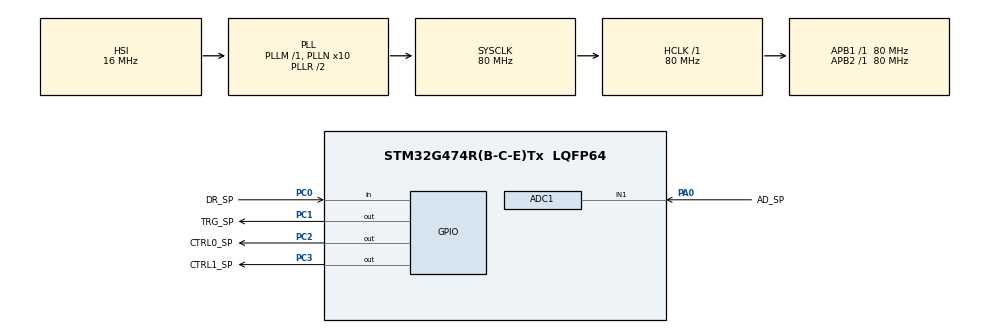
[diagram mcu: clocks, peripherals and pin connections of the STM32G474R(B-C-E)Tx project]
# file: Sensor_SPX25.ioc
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ADC1.Channel-0\#ChannelRegularConversion=ADC_CHANNEL_1
ADC1.ContinuousConvMode=ENABLE
ADC1.DMAContinuousRequests=ENABLE
ADC1.NbrOfConversionFlag=1
ADC1.OffsetNumber-0\#ChannelRegularConversion=ADC_OFFSET_NONE
ADC1.Overrun=ADC_OVR_DATA_OVERWRITTEN
ADC1.Rank-0\#ChannelRegularConversion=1
ADC1.SamplingTime-0\#ChannelRegularConversion=ADC_SAMPLETIME_640CYCLES_5
ADC1.master=1
Dma.ADC1.0.Direction=DMA_PERIPH_TO_MEMORY
Dma.ADC1.0.EventEnable=DISABLE
Dma.ADC1.0.Instance=DMA1_Channel1
Dma.ADC1.0.MemDataAlignment=DMA_MDATAALIGN_HALFWORD
Dma.ADC1.0.MemInc=DMA_MINC_ENABLE
Dma.ADC1.0.Mode=DMA_NORMAL
Dma.ADC1.0.PeriphDataAlignment=DMA_PDATAALIGN_HALFWORD
Dma.ADC1.0.PeriphInc=DMA_PINC_DISABLE
Dma.ADC1.0.Polarity=HAL_DMAMUX_REQ_GEN_RISING
Dma.ADC1.0.Priority=DMA_PRIORITY_LOW
Dma.ADC1.0.RequestNumber=1
Dma.ADC1.0.SignalID=NONE
Dma.ADC1.0.SyncEnable=DISABLE
Dma.ADC1.0.SyncPolarity=HAL_DMAMUX_SYNC_NO_EVENT
Dma.ADC1.0.SyncRequestNumber=1
Dma.ADC1.0.SyncSignalID=NONE
Dma.Request0=ADC1
Mcu.Family=STM32G4
Mcu.Name=STM32G474R(B-C-E)Tx
Mcu.Package=LQFP64
NVIC.PriorityGroup=NVIC_PRIORITYGROUP_4
PA0.GPIO_Label=AD_SP
PA0.Mode=IN1-Single-Ended
PA0.Signal=ADC1_IN1
PA13.Mode=Serial_Wire
PA13.Signal=SYS_JTMS-SWDIO
PA14.Mode=Serial_Wire
PA14.Signal=SYS_JTCK-SWCLK
PC0.GPIO_Label=DR_SP
PC0.Signal=GPIO_Input
PC1.GPIO_Label=TRG_SP
PC1.Signal=GPIO_Output
PC2.GPIO_Label=CTRL0_SP
PC2.Signal=GPIO_Output
PC3.GPIO_Label=CTRL1_SP
PC3.Signal=GPIO_Output
ProjectManager.HeapSize=0x200
ProjectManager.StackSize=0x400
ProjectManager.TargetToolchain=STM32CubeIDE
RCC.ADC12Freq_Value=80000000
RCC.ADC345Freq_Value=80000000
RCC.AHBFreq_Value=80000000
RCC.APB1Freq_Value=80000000
RCC.APB1TimFreq_Value=80000000
RCC.APB2Freq_Value=80000000
RCC.APB2TimFreq_Value=80000000
RCC.CortexFreq_Value=80000000
RCC.EXTERNAL_CLOCK_VALUE=12288000
RCC.HCLKFreq_Value=80000000
RCC.HSE_VALUE=8000000
RCC.HSI48_VALUE=48000000
RCC.HSI_VALUE=16000000
RCC.LSE_VALUE=32768
RCC.PLLN=10
RCC.SYSCLKFreq_VALUE=80000000
RCC.SYSCLKSource=RCC_SYSCLKSOURCE_PLLCLK
RCC.USBFreq_Value=80000000
RCC.VCOOutputFreq_Value=160000000
VP_SYS_VS_DBSignals.Mode=DisableDeadBatterySignals
board=custom

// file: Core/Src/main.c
/* USER CODE BEGIN Header */
/**
  ******************************************************************************
  * @file           : main.c
  * @brief          : Main program body
  ******************************************************************************
  * @attention
  *
  * Copyright (c) 2026 STMicroelectronics.
  * All rights reserved.
  *
  * This software is licensed under terms that can be found in the LICENSE file
  * in the root directory of this software component.
  * If no LICENSE file comes with this software, it is provided AS-IS.
  *
  ******************************************************************************
  */
/* USER CODE END Header */
#include "main.h"

/* USER CODE BEGIN Includes */
#include "spx25.h"
/* USER CODE END Includes */

ADC_HandleTypeDef hadc1;
DMA_HandleTypeDef hdma_adc1;

/* USER CODE BEGIN PV */

//bufor na ADC aktualizowany przez DMA
volatile static uint16_t value[1];
/* USER CODE END PV */

void SystemClock_Config(void);
static void MX_GPIO_Init(void);
static void MX_DMA_Init(void);
static void MX_ADC1_Init(void);

int main(void)
{

  /* MCU Configuration--------------------------------------------------------*/

  /* Reset of all peripherals, Initializes the Flash interface and the Systick. */
  HAL_Init();

  /* Configure the system clock */
  SystemClock_Config();

  /* Initialize all configured peripherals */
  MX_GPIO_Init();
  MX_DMA_Init();
  MX_ADC1_Init();
  /* USER CODE BEGIN 2 */

  //rozpoczęcie ciągłęgo pomiaru ADC za pomocą DMA
  HAL_ADCEx_Calibration_Start(&hadc1, ADC_SINGLE_ENDED);
  HAL_ADC_Start_DMA(&hadc1, (uint32_t*)value, 1);
  uint8_t selected_mode = 1; //zmienna wyznaczająca aktualną mierzoną wartość: 1 - wilgoć, 2 - pH, 3 - temperatura
  uint32_t trg_timer = 0;
  uint8_t trg_status = 0;
  uint8_t measurement_status = 0; //zmienna oznaczająca trwający pomiar

  /* USER CODE END 2 */

  /* Infinite loop */
  while (1)
  {
    /* USER CODE BEGIN 3 */
	uint32_t now = HAL_GetTick();

	//ustawianie mierzonego parametru
	if(measurement_status == 0){
		switch(selected_mode){
		case 1:
			spx25_set_mode(0,0); //pomiar wilgoci
			break;
		case 2:
			spx25_set_mode(0, 1); //pomiar pH
			break;
		case 3:
			spx25_set_mode(1, 0); //pomiar temperatury
			break;
		}
		// ustawienie sygnału trg
		HAL_GPIO_WritePin(TRG_SP_GPIO_Port, TRG_SP_Pin, GPIO_PIN_SET);
		trg_timer = HAL_GetTick();
		trg_status = 1;
		measurement_status = 1;
	}
	//zakończenie nadawania sygnału trg po 10ms
	if(trg_status == 1 && (now - trg_timer)> 10){
		trg_status = 0;
		HAL_GPIO_WritePin(TRG_SP_GPIO_Port, TRG_SP_Pin, GPIO_PIN_RESET);
	}
    //warunek sprawdzający czy sensor skończył pomiar, warunek trg_status == 0 przecwdziała sytuacji gdyby sensor wystawiał jakiś wynik podczas gdy my zlecamy kolejny
	if(HAL_GPIO_ReadPin(DR_SP_GPIO_Port, DR_SP_Pin) == GPIO_PIN_SET && trg_status == 0){
		spx25_measurement_conversion(selected_mode,value[0]);
		measurement_status = 0;
		selected_mode++;
		if(selected_mode>3)
			selected_mode = 1;
	}
	//warunek resetujący pomiar gdy trwa on dłużej niż najwięcej przewidziane 500ms
	if(measurement_status == 1 && (now - trg_timer) > 500){
	    measurement_status = 0;
	}
  }
  /* USER CODE END 3 */
}

void SystemClock_Config(void)
{
  RCC_OscInitTypeDef RCC_OscInitStruct = {0};
  RCC_ClkInitTypeDef RCC_ClkInitStruct = {0};

  /** Configure the main internal regulator output voltage
  */
  HAL_PWREx_ControlVoltageScaling(PWR_REGULATOR_VOLTAGE_SCALE1);

  /** Initializes the RCC Oscillators according to the specified parameters
  * in the RCC_OscInitTypeDef structure.
  */
  RCC_OscInitStruct.OscillatorType = RCC_OSCILLATORTYPE_HSI;
  RCC_OscInitStruct.HSIState = RCC_HSI_ON;
  RCC_OscInitStruct.HSICalibrationValue = RCC_HSICALIBRATION_DEFAULT;
  RCC_OscInitStruct.PLL.PLLState = RCC_PLL_ON;
  RCC_OscInitStruct.PLL.PLLSource = RCC_PLLSOURCE_HSI;
  RCC_OscInitStruct.PLL.PLLM = RCC_PLLM_DIV1;
  RCC_OscInitStruct.PLL.PLLN = 10;
  RCC_OscInitStruct.PLL.PLLP = RCC_PLLP_DIV2;
  RCC_OscInitStruct.PLL.PLLQ = RCC_PLLQ_DIV2;
  RCC_OscInitStruct.PLL.PLLR = RCC_PLLR_DIV2;
  if (HAL_RCC_OscConfig(&RCC_OscInitStruct) != HAL_OK)
  {
    Error_Handler();
  }

  /** Initializes the CPU, AHB and APB buses clocks
  */
  RCC_ClkInitStruct.ClockType = RCC_CLOCKTYPE_HCLK|RCC_CLOCKTYPE_SYSCLK
                              |RCC_CLOCKTYPE_PCLK1|RCC_CLOCKTYPE_PCLK2;
  RCC_ClkInitStruct.SYSCLKSource = RCC_SYSCLKSOURCE_PLLCLK;
  RCC_ClkInitStruct.AHBCLKDivider = RCC_SYSCLK_DIV1;
  RCC_ClkInitStruct.APB1CLKDivider = RCC_HCLK_DIV1;
  RCC_ClkInitStruct.APB2CLKDivider = RCC_HCLK_DIV1;

  if (HAL_RCC_ClockConfig(&RCC_ClkInitStruct, FLASH_LATENCY_2) != HAL_OK)
  {
    Error_Handler();
  }
}

static void MX_ADC1_Init(void)
{

  ADC_MultiModeTypeDef multimode = {0};
  ADC_ChannelConfTypeDef sConfig = {0};

  /** Common config
  */
  hadc1.Instance = ADC1;
  hadc1.Init.ClockPrescaler = ADC_CLOCK_SYNC_PCLK_DIV2;
  hadc1.Init.Resolution = ADC_RESOLUTION_12B;
  hadc1.Init.DataAlign = ADC_DATAALIGN_RIGHT;
  hadc1.Init.GainCompensation = 0;
  hadc1.Init.ScanConvMode = ADC_SCAN_DISABLE;
  hadc1.Init.EOCSelection = ADC_EOC_SINGLE_CONV;
  hadc1.Init.LowPowerAutoWait = DISABLE;
  hadc1.Init.ContinuousConvMode = ENABLE;
  hadc1.Init.NbrOfConversion = 1;
  hadc1.Init.DiscontinuousConvMode = DISABLE;
  hadc1.Init.ExternalTrigConv = ADC_SOFTWARE_START;
  hadc1.Init.ExternalTrigConvEdge = ADC_EXTERNALTRIGCONVEDGE_NONE;
  hadc1.Init.DMAContinuousRequests = ENABLE;
  hadc1.Init.Overrun = ADC_OVR_DATA_OVERWRITTEN;
  hadc1.Init.OversamplingMode = DISABLE;
  if (HAL_ADC_Init(&hadc1) != HAL_OK)
  {
    Error_Handler();
  }

  /** Configure the ADC multi-mode
  */
  multimode.Mode = ADC_MODE_INDEPENDENT;
  if (HAL_ADCEx_MultiModeConfigChannel(&hadc1, &multimode) != HAL_OK)
  {
    Error_Handler();
  }

  /** Configure Regular Channel
  */
  sConfig.Channel = ADC_CHANNEL_1;
  sConfig.Rank = ADC_REGULAR_RANK_1;
  sConfig.SamplingTime = ADC_SAMPLETIME_640CYCLES_5;
  sConfig.SingleDiff = ADC_SINGLE_ENDED;
  sConfig.OffsetNumber = ADC_OFFSET_NONE;
  sConfig.Offset = 0;
  if (HAL_ADC_ConfigChannel(&hadc1, &sConfig) != HAL_OK)
  {
    Error_Handler();
  }

}

static void MX_DMA_Init(void)
{

  /* DMA controller clock enable */
  __HAL_RCC_DMAMUX1_CLK_ENABLE();
  __HAL_RCC_DMA1_CLK_ENABLE();

}

static void MX_GPIO_Init(void)
{
  GPIO_InitTypeDef GPIO_InitStruct = {0};

  /* GPIO Ports Clock Enable */
  __HAL_RCC_GPIOC_CLK_ENABLE();
  __HAL_RCC_GPIOA_CLK_ENABLE();

  /*Configure GPIO pin Output Level */
  HAL_GPIO_WritePin(GPIOC, TRG_SP_Pin|CTRL0_SP_Pin|CTRL1_SP_Pin, GPIO_PIN_RESET);

  /*Configure GPIO pin : DR_SP_Pin */
  GPIO_InitStruct.Pin = DR_SP_Pin;
  GPIO_InitStruct.Mode = GPIO_MODE_INPUT;
  GPIO_InitStruct.Pull = GPIO_NOPULL;
  HAL_GPIO_Init(DR_SP_GPIO_Port, &GPIO_InitStruct);

  /*Configure GPIO pins : TRG_SP_Pin CTRL0_SP_Pin CTRL1_SP_Pin */
  GPIO_InitStruct.Pin = TRG_SP_Pin|CTRL0_SP_Pin|CTRL1_SP_Pin;
  GPIO_InitStruct.Mode = GPIO_MODE_OUTPUT_PP;
  GPIO_InitStruct.Pull = GPIO_NOPULL;
  GPIO_InitStruct.Speed = GPIO_SPEED_FREQ_LOW;
  HAL_GPIO_Init(GPIOC, &GPIO_InitStruct);

}

void Error_Handler(void)
{
  __disable_irq();
  while (1)
  {
  }
}
